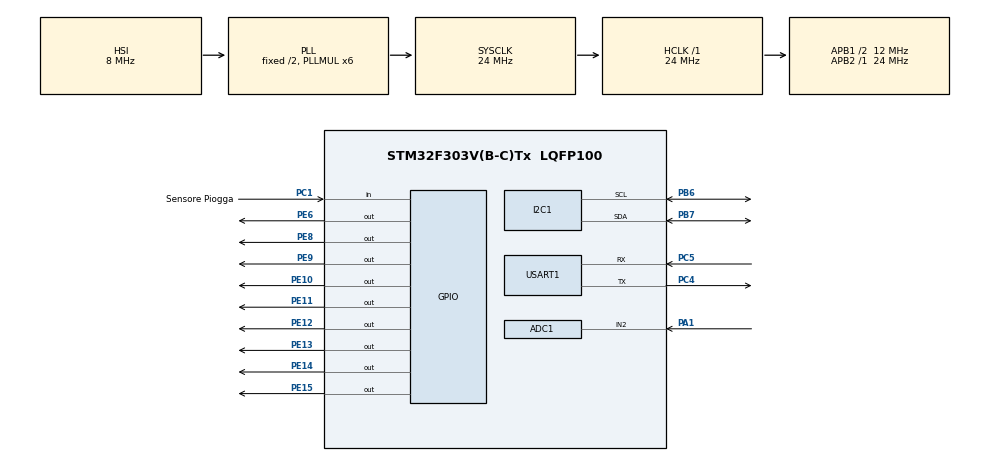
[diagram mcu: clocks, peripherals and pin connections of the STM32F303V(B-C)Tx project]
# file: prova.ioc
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ADC1.Channel-1\#ChannelRegularConversion=ADC_CHANNEL_2
ADC1.ContinuousConvMode=ENABLE
ADC1.DMAContinuousRequests=ENABLE
ADC1.NbrOfConversionFlag=1
ADC1.Offset-1\#ChannelRegularConversion=0
ADC1.OffsetNumber-1\#ChannelRegularConversion=ADC_OFFSET_NONE
ADC1.Rank-1\#ChannelRegularConversion=1
ADC1.SamplingTime-1\#ChannelRegularConversion=ADC_SAMPLETIME_1CYCLE_5
ADC1.SamplingTimeOPAMP-1\#ChannelRegularConversion=ADC_SAMPLETIME_19CYCLES_5
ADC1.master=1
Dma.ADC1.0.Direction=DMA_PERIPH_TO_MEMORY
Dma.ADC1.0.Instance=DMA1_Channel1
Dma.ADC1.0.MemDataAlignment=DMA_MDATAALIGN_HALFWORD
Dma.ADC1.0.MemInc=DMA_MINC_ENABLE
Dma.ADC1.0.Mode=DMA_CIRCULAR
Dma.ADC1.0.PeriphDataAlignment=DMA_PDATAALIGN_HALFWORD
Dma.ADC1.0.PeriphInc=DMA_PINC_DISABLE
Dma.ADC1.0.Priority=DMA_PRIORITY_LOW
Dma.Request0=ADC1
I2C1.Timing=0x00201D2B
Mcu.Family=STM32F3
Mcu.Name=STM32F303V(B-C)Tx
Mcu.Package=LQFP100
NVIC.DMA1_Channel1_IRQn=true\:0\:0\:false\:false\:true\:false\:true\:true
NVIC.PriorityGroup=NVIC_PRIORITYGROUP_0
NVIC.TIM3_IRQn=true\:0\:0\:false\:false\:true\:true\:true\:true
PA1.Mode=IN2-Single-Ended
PA1.Signal=ADC1_IN2
PB6.Mode=I2C
PB6.Signal=I2C1_SCL
PB7.Mode=I2C
PB7.Signal=I2C1_SDA
PC1.GPIO_Label=Sensore Piogga
PC1.Signal=GPIO_Input
PC4.Mode=Asynchronous
PC4.Signal=USART1_TX
PC5.Mode=Asynchronous
PC5.Signal=USART1_RX
PE10.Signal=GPIO_Output
PE11.Signal=GPIO_Output
PE12.Signal=GPIO_Output
PE13.Signal=GPIO_Output
PE14.Signal=GPIO_Output
PE15.Signal=GPIO_Output
PE6.Signal=GPIO_Output
PE8.Signal=GPIO_Output
PE9.Signal=GPIO_Output
ProjectManager.HeapSize=0x200
ProjectManager.StackSize=0x400
ProjectManager.TargetToolchain=STM32CubeIDE
RCC.AHBFreq_Value=24000000
RCC.APB1CLKDivider=RCC_HCLK_DIV2
RCC.APB1Freq_Value=12000000
RCC.APB1TimFreq_Value=24000000
RCC.APB2Freq_Value=24000000
RCC.APB2TimFreq_Value=24000000
RCC.CortexFreq_Value=24000000
RCC.HCLKFreq_Value=24000000
RCC.HSE_VALUE=8000000
RCC.HSI_VALUE=8000000
RCC.LSE_VALUE=32768
RCC.PLLMUL=RCC_PLL_MUL6
RCC.SYSCLKFreq_VALUE=24000000
RCC.SYSCLKSourceVirtual=RCC_SYSCLKSOURCE_PLLCLK
RCC.USBFreq_Value=24000000
TIM3.Period=59999
TIM3.Prescaler=23999
USART1.Parity=PARITY_NONE
USART1.VirtualMode-Asynchronous=VM_ASYNC
VP_TIM3_VS_ClockSourceINT.Mode=Internal
board=STM32F3DISCOVERY

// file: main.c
/* USER CODE BEGIN Header */
/**
  * ******************************************************************************
  * @file           : main.c
  * @brief          : Main program body
  * ******************************************************************************
  */
/* USER CODE END Header */
#include "main.h"

/* USER CODE BEGIN Includes */
#include <stdio.h>
#include <stdlib.h>
#include "stm32f3xx_hal.h"
#include "liquidcrystal_i2c.h"
/* USER CODE END Includes */

/* USER CODE BEGIN PTD */
typedef struct {
    uint8_t secondi;
    uint8_t minuti;
    uint8_t ore;
} DS1307_Time;
/* USER CODE END PTD */

ADC_HandleTypeDef hadc1;
DMA_HandleTypeDef hdma_adc1;

I2C_HandleTypeDef hi2c1;

TIM_HandleTypeDef htim3;

UART_HandleTypeDef huart1;

/* USER CODE BEGIN PV */
volatile uint8_t test_pioggia = 0;  // 0=non piove     1=piove
uint16_t adc_valori[1];             // Array destinazione DMA
volatile uint16_t test_umidita = 0; // valore umidità cosi come lo da il sensore
volatile uint8_t umidita_percentuale = 0;
DS1307_Time orologio;               // Struttura dati dell'orologio RTC

volatile uint8_t rtc_ore = 0;
volatile uint8_t rtc_minuti = 0;
volatile uint8_t rtc_secondi = 0;

volatile uint8_t ult_irr_ore = 0;
volatile uint8_t ult_irr_minuti = 0;
volatile uint8_t ult_irr_secondi = 0;
volatile uint8_t mai_irrigato = 1;

volatile uint32_t irr_start_time = 0; // Registra il millisecondo in cui si accende il buzzer
volatile uint8_t irr_on = 0;      // stato irrigazione

volatile uint8_t cont ;
/* USER CODE END PV */

void SystemClock_Config(void);
static void MX_GPIO_Init(void);
static void MX_DMA_Init(void);
static void MX_ADC1_Init(void);
static void MX_I2C1_Init(void);
static void MX_TIM3_Init(void);
static void MX_USART1_UART_Init(void);
/* USER CODE BEGIN PFP */
uint8_t DecToBcd(uint8_t val);
uint8_t BcdToDec(uint8_t val);
void DS1307_SetTime(uint8_t sec, uint8_t min, uint8_t hour);
void DS1307_ReadTime(void);

/* USER CODE END PFP */

/* USER CODE BEGIN 0 */
#define DS1307_I2C_ADDRESS (0x68 << 1) // Indirizzo I2C dell'RTC shiftato per l'HAL per lasciare l'ultimo bit per 0/1 Read/Write

// Funzioni di conversione BCD per RTC RTC conta in binario bisogna avere decimale
uint8_t DecToBcd(uint8_t val) {
    return ((val / 10 * 16) + (val % 10));  //es: 25/10=2 -> *16 shifta 0010 0000 + 25%10=2 0000 0010
}

uint8_t BcdToDec(uint8_t val) {
    return ((val / 16 * 10) + (val % 16));
}

// Funzione per impostare l'ora iniziale dell'RTC
void DS1307_SetTime(uint8_t sec, uint8_t min, uint8_t hour) {
    uint8_t dati_da_scrivere[3];
    dati_da_scrivere[0] = DecToBcd(sec);
    dati_da_scrivere[1] = DecToBcd(min);
    dati_da_scrivere[2] = DecToBcd(hour);

    HAL_I2C_Mem_Write(&hi2c1, DS1307_I2C_ADDRESS, 0x00, I2C_MEMADD_SIZE_8BIT, dati_da_scrivere, 3, HAL_MAX_DELAY);
}

// Funzione per leggere l'ora corrente dall'RTC
void DS1307_ReadTime(void) {
    uint8_t buffer_lettura[7];

    HAL_I2C_Mem_Read(&hi2c1, DS1307_I2C_ADDRESS, 0x00, I2C_MEMADD_SIZE_8BIT, buffer_lettura, 3, HAL_MAX_DELAY);
    //puntatore periferica i2C, indirizzo periferica, indirizzo registro interno RTC, grandezza valori, destinazione, numero byte, tempo massimo attesa

    orologio.secondi = BcdToDec(buffer_lettura[0] & 0x7F);
    orologio.minuti = BcdToDec(buffer_lettura[1]);
    orologio.ore = BcdToDec(buffer_lettura[2] & 0x3F);

    rtc_ore = orologio.ore;
    rtc_minuti = orologio.minuti;
    rtc_secondi = orologio.secondi;
}

//funzione bloccante buzzer, da non usare
/*
void buzzer_bip(uint16_t durata_ms) {
    int cicli = durata_ms * 2;

    for (int i = 0; i < cicli; i++) {
        // Semionda ALTA
        HAL_GPIO_WritePin(GPIOE, GPIO_PIN_1, GPIO_PIN_SET);
        for (volatile int d = 0; d < 350; d++);

        // Semionda BASSA
        HAL_GPIO_WritePin(GPIOE, GPIO_PIN_1, GPIO_PIN_RESET);
        for (volatile int d = 0; d < 350; d++);
    }
}
*/

/* USER CODE END 0 */

int main(void)
{

  /* MCU Configuration--------------------------------------------------------*/

  /* Reset of all peripherals, Initializes the Flash interface and the Systick. */
  HAL_Init();

  /* Configure the system clock */
  SystemClock_Config();

  /* Initialize all configured peripherals */
  MX_GPIO_Init();
  MX_DMA_Init();
  MX_ADC1_Init();
  MX_I2C1_Init();
  MX_TIM3_Init();
  MX_USART1_UART_Init();
  /* USER CODE BEGIN 2 */

  //disabilitp interrupt DMA, lavora in silenzio per non avere troppe interrupt.
  //Come se periferica lavorasse in Collegamento Passivo
  HAL_NVIC_DisableIRQ(DMA1_Channel1_IRQn);

  //resetto interrupt flag a 0 per avvio
  __HAL_TIM_CLEAR_FLAG(&htim3, TIM_FLAG_UPDATE);

  //Timer 3 in modalità Interrupt
  HAL_TIM_Base_Start_IT(&htim3);

  //l'ADC in modalità DMA continuo
  HAL_ADC_Start_DMA(&hadc1, (uint32_t*)adc_valori, 1);

  //setting del RTC
  //DS1307_SetTime(0, 28, 13);

  // Inizializzazione dello schermo LCD
  lcd_init();

  /* USER CODE END 2 */

  /* Infinite loop */
  /* USER CODE BEGIN WHILE */
  char riga1_display[20]; // Buffer sicuro per l'orario
  char riga2_display[20]; // Buffer sicuro per i sensori

  while (1)
  {

	  if(irr_on==1) {

		  if (( HAL_GetTick()-irr_start_time>30000) || (test_pioggia==1))
				{
					irr_on = 0;
					ult_irr_ore = rtc_ore;
					ult_irr_minuti = rtc_minuti;
					ult_irr_secondi = rtc_secondi;
					HAL_GPIO_WritePin(GPIOE, GPIO_PIN_6, GPIO_PIN_RESET);
					HAL_GPIO_WritePin(GPIOE, GPIO_PIN_8, GPIO_PIN_RESET);
					HAL_GPIO_WritePin(GPIOE, GPIO_PIN_9, GPIO_PIN_RESET);
					HAL_GPIO_WritePin(GPIOE, GPIO_PIN_10, GPIO_PIN_RESET);
					HAL_GPIO_WritePin(GPIOE, GPIO_PIN_11, GPIO_PIN_RESET);
					HAL_GPIO_WritePin(GPIOE, GPIO_PIN_12, GPIO_PIN_RESET);
					HAL_GPIO_WritePin(GPIOE, GPIO_PIN_13, GPIO_PIN_RESET);
					HAL_GPIO_WritePin(GPIOE, GPIO_PIN_14, GPIO_PIN_RESET);
					HAL_GPIO_WritePin(GPIOE, GPIO_PIN_15, GPIO_PIN_RESET);

					char msg_seriale[80];

					int lunghezza = sprintf(msg_seriale, "STATO: Irrigazione Terminata [ %02d:%02d:%02d ] \r\n", rtc_ore, rtc_minuti, rtc_secondi);

					HAL_UART_Transmit(&huart1, (uint8_t*)msg_seriale, lunghezza, 100);

					}
	  }

      if (HAL_GPIO_ReadPin(Sensore_Piogga_GPIO_Port, Sensore_Piogga_Pin) == GPIO_PIN_RESET)
      {test_pioggia = 1;}
      else
      {test_pioggia = 0;}

      test_umidita = adc_valori[0];
      umidita_percentuale=(1800-test_umidita)*100/(1500); //(VAL_ASCIUTTO-VALATTUALE)*100/(VALASCIUTTO-VALBAGNATO)

      DS1307_ReadTime();

      sprintf(riga1_display, "%02d:%02d:%02d", rtc_ore, rtc_minuti, rtc_secondi);
      sprintf(riga2_display, "P=%d     U:%02d%%  ", test_pioggia, umidita_percentuale);

      lcd_put_cur(0, 0);
      lcd_send_string(riga1_display);
      lcd_put_cur(1, 0);
      lcd_send_string(riga2_display);

      HAL_Delay(700);  //SERVE PER I2C e aggiornamento schermo. Bloccante
  }
    /* USER CODE END WHILE */

}

void SystemClock_Config(void)
{
  RCC_OscInitTypeDef RCC_OscInitStruct = {0};
  RCC_ClkInitTypeDef RCC_ClkInitStruct = {0};
  RCC_PeriphCLKInitTypeDef PeriphClkInit = {0};

  /** Initializes the RCC Oscillators according to the specified parameters
  * in the RCC_OscInitTypeDef structure.
  */
  RCC_OscInitStruct.OscillatorType = RCC_OSCILLATORTYPE_HSI;
  RCC_OscInitStruct.HSIState = RCC_HSI_ON;
  RCC_OscInitStruct.HSICalibrationValue = RCC_HSICALIBRATION_DEFAULT;
  RCC_OscInitStruct.PLL.PLLState = RCC_PLL_ON;
  RCC_OscInitStruct.PLL.PLLSource = RCC_PLLSOURCE_HSI;
  RCC_OscInitStruct.PLL.PLLMUL = RCC_PLL_MUL6;
  if (HAL_RCC_OscConfig(&RCC_OscInitStruct) != HAL_OK)
  {
    Error_Handler();
  }

  /** Initializes the CPU, AHB and APB buses clocks
  */
  RCC_ClkInitStruct.ClockType = RCC_CLOCKTYPE_HCLK|RCC_CLOCKTYPE_SYSCLK
                              |RCC_CLOCKTYPE_PCLK1|RCC_CLOCKTYPE_PCLK2;
  RCC_ClkInitStruct.SYSCLKSource = RCC_SYSCLKSOURCE_PLLCLK;
  RCC_ClkInitStruct.AHBCLKDivider = RCC_SYSCLK_DIV1;
  RCC_ClkInitStruct.APB1CLKDivider = RCC_HCLK_DIV2;
  RCC_ClkInitStruct.APB2CLKDivider = RCC_HCLK_DIV1;

  if (HAL_RCC_ClockConfig(&RCC_ClkInitStruct, FLASH_LATENCY_0) != HAL_OK)
  {
    Error_Handler();
  }
  PeriphClkInit.PeriphClockSelection = RCC_PERIPHCLK_USART1|RCC_PERIPHCLK_I2C1
                              |RCC_PERIPHCLK_ADC12;
  PeriphClkInit.Usart1ClockSelection = RCC_USART1CLKSOURCE_PCLK2;
  PeriphClkInit.Adc12ClockSelection = RCC_ADC12PLLCLK_DIV1;
  PeriphClkInit.I2c1ClockSelection = RCC_I2C1CLKSOURCE_HSI;
  if (HAL_RCCEx_PeriphCLKConfig(&PeriphClkInit) != HAL_OK)
  {
    Error_Handler();
  }
}

static void MX_ADC1_Init(void)
{

  ADC_MultiModeTypeDef multimode = {0};
  ADC_ChannelConfTypeDef sConfig = {0};

  /** Common config
  */
  hadc1.Instance = ADC1;
  hadc1.Init.ClockPrescaler = ADC_CLOCK_ASYNC_DIV1;
  hadc1.Init.Resolution = ADC_RESOLUTION_12B;
  hadc1.Init.ScanConvMode = ADC_SCAN_DISABLE;
  hadc1.Init.ContinuousConvMode = ENABLE;
  hadc1.Init.DiscontinuousConvMode = DISABLE;
  hadc1.Init.ExternalTrigConvEdge = ADC_EXTERNALTRIGCONVEDGE_NONE;
  hadc1.Init.ExternalTrigConv = ADC_SOFTWARE_START;
  hadc1.Init.DataAlign = ADC_DATAALIGN_RIGHT;
  hadc1.Init.NbrOfConversion = 1;
  hadc1.Init.DMAContinuousRequests = ENABLE;
  hadc1.Init.EOCSelection = ADC_EOC_SINGLE_CONV;
  hadc1.Init.LowPowerAutoWait = DISABLE;
  hadc1.Init.Overrun = ADC_OVR_DATA_OVERWRITTEN;
  if (HAL_ADC_Init(&hadc1) != HAL_OK)
  {
    Error_Handler();
  }

  /** Configure the ADC multi-mode
  */
  multimode.Mode = ADC_MODE_INDEPENDENT;
  if (HAL_ADCEx_MultiModeConfigChannel(&hadc1, &multimode) != HAL_OK)
  {
    Error_Handler();
  }

  /** Configure Regular Channel
  */
  sConfig.Channel = ADC_CHANNEL_2;
  sConfig.Rank = ADC_REGULAR_RANK_1;
  sConfig.SingleDiff = ADC_SINGLE_ENDED;
  sConfig.SamplingTime = ADC_SAMPLETIME_1CYCLE_5;
  sConfig.OffsetNumber = ADC_OFFSET_NONE;
  sConfig.Offset = 0;
  if (HAL_ADC_ConfigChannel(&hadc1, &sConfig) != HAL_OK)
  {
    Error_Handler();
  }

}

static void MX_I2C1_Init(void)
{

  hi2c1.Instance = I2C1;
  hi2c1.Init.Timing = 0x00201D2B;
  hi2c1.Init.OwnAddress1 = 0;
  hi2c1.Init.AddressingMode = I2C_ADDRESSINGMODE_7BIT;
  hi2c1.Init.DualAddressMode = I2C_DUALADDRESS_DISABLE;
  hi2c1.Init.OwnAddress2 = 0;
  hi2c1.Init.OwnAddress2Masks = I2C_OA2_NOMASK;
  hi2c1.Init.GeneralCallMode = I2C_GENERALCALL_DISABLE;
  hi2c1.Init.NoStretchMode = I2C_NOSTRETCH_DISABLE;
  if (HAL_I2C_Init(&hi2c1) != HAL_OK)
  {
    Error_Handler();
  }

  /** Configure Analogue filter
  */
  if (HAL_I2CEx_ConfigAnalogFilter(&hi2c1, I2C_ANALOGFILTER_ENABLE) != HAL_OK)
  {
    Error_Handler();
  }

  /** Configure Digital filter
  */
  if (HAL_I2CEx_ConfigDigitalFilter(&hi2c1, 0) != HAL_OK)
  {
    Error_Handler();
  }

}

static void MX_TIM3_Init(void)
{

  TIM_ClockConfigTypeDef sClockSourceConfig = {0};
  TIM_MasterConfigTypeDef sMasterConfig = {0};

  htim3.Instance = TIM3;
  htim3.Init.Prescaler = 23999;
  htim3.Init.CounterMode = TIM_COUNTERMODE_UP;
  htim3.Init.Period = 59999;
  htim3.Init.ClockDivision = TIM_CLOCKDIVISION_DIV1;
  htim3.Init.AutoReloadPreload = TIM_AUTORELOAD_PRELOAD_DISABLE;
  if (HAL_TIM_Base_Init(&htim3) != HAL_OK)
  {
    Error_Handler();
  }
  sClockSourceConfig.ClockSource = TIM_CLOCKSOURCE_INTERNAL;
  if (HAL_TIM_ConfigClockSource(&htim3, &sClockSourceConfig) != HAL_OK)
  {
    Error_Handler();
  }
  sMasterConfig.MasterOutputTrigger = TIM_TRGO_RESET;
  sMasterConfig.MasterSlaveMode = TIM_MASTERSLAVEMODE_DISABLE;
  if (HAL_TIMEx_MasterConfigSynchronization(&htim3, &sMasterConfig) != HAL_OK)
  {
    Error_Handler();
  }

}

static void MX_USART1_UART_Init(void)
{

  huart1.Instance = USART1;
  huart1.Init.BaudRate = 38400;
  huart1.Init.WordLength = UART_WORDLENGTH_8B;
  huart1.Init.StopBits = UART_STOPBITS_1;
  huart1.Init.Parity = UART_PARITY_NONE;
  huart1.Init.Mode = UART_MODE_TX_RX;
  huart1.Init.HwFlowCtl = UART_HWCONTROL_NONE;
  huart1.Init.OverSampling = UART_OVERSAMPLING_16;
  huart1.Init.OneBitSampling = UART_ONE_BIT_SAMPLE_DISABLE;
  huart1.AdvancedInit.AdvFeatureInit = UART_ADVFEATURE_NO_INIT;
  if (HAL_UART_Init(&huart1) != HAL_OK)
  {
    Error_Handler();
  }

}

static void MX_DMA_Init(void)
{

  /* DMA controller clock enable */
  __HAL_RCC_DMA1_CLK_ENABLE();

  /* DMA interrupt init */
  /* DMA1_Channel1_IRQn interrupt configuration */
  HAL_NVIC_SetPriority(DMA1_Channel1_IRQn, 0, 0);
  HAL_NVIC_EnableIRQ(DMA1_Channel1_IRQn);

}

static void MX_GPIO_Init(void)
{
  GPIO_InitTypeDef GPIO_InitStruct = {0};

  /* GPIO Ports Clock Enable */
  __HAL_RCC_GPIOE_CLK_ENABLE();
  __HAL_RCC_GPIOC_CLK_ENABLE();
  __HAL_RCC_GPIOA_CLK_ENABLE();
  __HAL_RCC_GPIOB_CLK_ENABLE();

  /*Configure GPIO pin Output Level */
  HAL_GPIO_WritePin(GPIOE, GPIO_PIN_6|GPIO_PIN_8|GPIO_PIN_9|GPIO_PIN_10
                          |GPIO_PIN_11|GPIO_PIN_12|GPIO_PIN_13|GPIO_PIN_14
                          |GPIO_PIN_15, GPIO_PIN_RESET);

  /*Configure GPIO pins : PE6 PE8 PE9 PE10
                           PE11 PE12 PE13 PE14
                           PE15 */
  GPIO_InitStruct.Pin = GPIO_PIN_6|GPIO_PIN_8|GPIO_PIN_9|GPIO_PIN_10
                          |GPIO_PIN_11|GPIO_PIN_12|GPIO_PIN_13|GPIO_PIN_14
                          |GPIO_PIN_15;
  GPIO_InitStruct.Mode = GPIO_MODE_OUTPUT_PP;
  GPIO_InitStruct.Pull = GPIO_NOPULL;
  GPIO_InitStruct.Speed = GPIO_SPEED_FREQ_LOW;
  HAL_GPIO_Init(GPIOE, &GPIO_InitStruct);

  /*Configure GPIO pin : Sensore_Piogga_Pin */
  GPIO_InitStruct.Pin = Sensore_Piogga_Pin;
  GPIO_InitStruct.Mode = GPIO_MODE_INPUT;
  GPIO_InitStruct.Pull = GPIO_NOPULL;
  HAL_GPIO_Init(Sensore_Piogga_GPIO_Port, &GPIO_InitStruct);

}

/* USER CODE BEGIN 4 */

// La funzione callback del Timer 3 scatta automaticamente in background ogni 10 secondi esatti
void HAL_TIM_PeriodElapsedCallback(TIM_HandleTypeDef *htim)
{
    if (htim->Instance == TIM3)
    {

    	char msg_seriale[80];
    	int lunghezza = sprintf(msg_seriale, "STATO: Interruzione Partita [ %02d:%02d:%02d ] \r\n", rtc_ore, rtc_minuti, rtc_secondi);
    	HAL_UART_Transmit(&huart1, (uint8_t*)msg_seriale, lunghezza, 100);
    	cont=0;

        // Calcolo dei minuti passati correggendo l'eventuale passaggio dell'ora (es. da minuto 59 a minuto 01)
        int8_t minuti_passati = rtc_minuti - ult_irr_minuti;
        int8_t secondi_passati = rtc_secondi - ult_irr_secondi;
        if (minuti_passati < 0) minuti_passati += 60;

        // Se non piove E (è passato almeno 1 minuto OPPURE è la prima volta in assoluto)
        if (test_pioggia == 0 && (mai_irrigato == 1 || minuti_passati>1 || (minuti_passati >= 1 && secondi_passati>28)))
        {
            if (umidita_percentuale < 35)
            {

                mai_irrigato = 0;

                //Accendo i LED
                //Salvo i millisecondi attuali
                //Alzo segnale di irrigazione

                //HAL_GPIO_WritePin(GPIOE, GPIO_PIN_1, GPIO_PIN_RESET);
                irr_start_time = HAL_GetTick();
                irr_on = 1;
                HAL_GPIO_WritePin(GPIOE, GPIO_PIN_6, GPIO_PIN_SET);
                HAL_GPIO_WritePin(GPIOE, GPIO_PIN_8, GPIO_PIN_SET);
                HAL_GPIO_WritePin(GPIOE, GPIO_PIN_9, GPIO_PIN_SET);
                HAL_GPIO_WritePin(GPIOE, GPIO_PIN_10, GPIO_PIN_SET);
                HAL_GPIO_WritePin(GPIOE, GPIO_PIN_11, GPIO_PIN_SET);
                HAL_GPIO_WritePin(GPIOE, GPIO_PIN_12, GPIO_PIN_SET);
                HAL_GPIO_WritePin(GPIOE, GPIO_PIN_13, GPIO_PIN_SET);
                HAL_GPIO_WritePin(GPIOE, GPIO_PIN_14, GPIO_PIN_SET);
                HAL_GPIO_WritePin(GPIOE, GPIO_PIN_15, GPIO_PIN_SET);

                int lunghezza = sprintf(msg_seriale, "STATO: Irrigazione Partita [ %02d:%02d:%02d ] \r\n", rtc_ore, rtc_minuti, rtc_secondi);
                HAL_UART_Transmit(&huart1, (uint8_t*)msg_seriale, lunghezza, 100);

}
        }else{
        	irr_on=0;
        }
    }
}

/* USER CODE END 4 */

void Error_Handler(void)
{
  __disable_irq();
  while (1)
  {
  }
}
